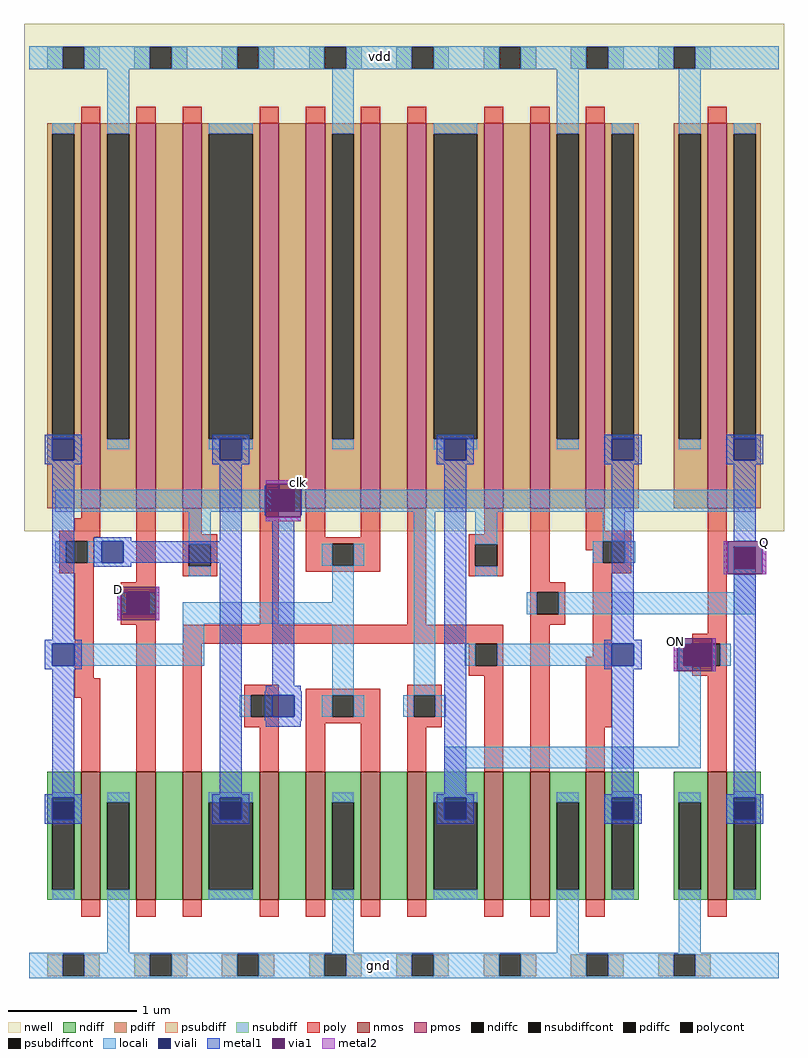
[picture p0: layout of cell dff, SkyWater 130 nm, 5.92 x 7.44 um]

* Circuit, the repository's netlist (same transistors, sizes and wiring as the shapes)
* SPICE3 file created from dff.ext - technology: EFS8A

.subckt dff D Q clk vdd gnd
M1000 a_511_725# a_n8_115# vdd vdd pshort W=3 L=0.15
M1001 a_353_115# clk a_11_624# gnd nshort W=1 L=0.15
M1002 a_353_725# a_203_89# a_11_624# vdd pshort W=3 L=0.15
M1003 a_11_624# a_203_89# a_161_115# gnd nshort W=1 L=0.15
M1004 a_11_624# clk a_161_725# vdd pshort W=3 L=0.15
M1005 gnd Q a_703_115# gnd nshort W=1 L=0.15
M1006 vdd Q a_703_725# vdd pshort W=3 L=0.15
M1007 a_203_89# clk gnd gnd nshort W=1 L=0.15
M1008 a_203_89# clk vdd vdd pshort W=3 L=0.15
M1009 a_161_115# D gnd gnd nshort W=1 L=0.15
M1010 a_161_725# D vdd vdd pshort W=3 L=0.15
M1011 gnd a_11_624# a_n8_115# gnd nshort W=1 L=0.15
M1012 a_703_115# a_203_89# ON gnd nshort W=1 L=0.15
M1013 vdd a_11_624# a_n8_115# vdd pshort W=3 L=0.15
M1014 a_703_725# clk ON vdd pshort W=3 L=0.15
M1015 Q ON vdd vdd pshort W=3 L=0.15
M1016 Q ON gnd gnd nshort W=1 L=0.15
M1017 ON a_203_89# a_511_725# vdd pshort W=3 L=0.15
M1018 ON clk a_511_115# gnd nshort W=1 L=0.15
M1019 gnd a_n8_115# a_353_115# gnd nshort W=1 L=0.15
M1020 vdd a_n8_115# a_353_725# vdd pshort W=3 L=0.15
M1021 a_511_115# a_n8_115# gnd gnd nshort W=1 L=0.15
.ends

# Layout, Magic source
magic
tech sky130A
magscale 1 2
<< nwell >>
rect -8 676 1176 1467
<< nmos >>
rect 81 102 111 302
rect 167 102 197 302
rect 239 102 269 302
rect 359 102 389 302
rect 431 102 461 302
rect 517 102 547 302
rect 589 102 619 302
rect 709 102 739 302
rect 781 102 811 302
rect 867 102 897 302
rect 1057 102 1087 302
<< pmos >>
rect 81 712 111 1312
rect 167 712 197 1312
rect 239 712 269 1312
rect 359 712 389 1312
rect 431 712 461 1312
rect 517 712 547 1312
rect 589 712 619 1312
rect 709 712 739 1312
rect 781 712 811 1312
rect 867 712 897 1312
rect 1057 712 1087 1312
<< ndiff >>
rect 28 254 81 302
rect 28 118 36 254
rect 70 118 81 254
rect 28 102 81 118
rect 111 254 167 302
rect 111 118 122 254
rect 156 118 167 254
rect 111 102 167 118
rect 197 102 239 302
rect 269 254 359 302
rect 269 118 280 254
rect 348 118 359 254
rect 269 102 359 118
rect 389 102 431 302
rect 461 254 517 302
rect 461 118 472 254
rect 506 118 517 254
rect 461 102 517 118
rect 547 102 589 302
rect 619 254 709 302
rect 619 118 630 254
rect 698 118 709 254
rect 619 102 709 118
rect 739 102 781 302
rect 811 254 867 302
rect 811 118 822 254
rect 856 118 867 254
rect 811 102 867 118
rect 897 254 950 302
rect 897 118 908 254
rect 942 118 950 254
rect 897 102 950 118
rect 1004 254 1057 302
rect 1004 118 1012 254
rect 1046 118 1057 254
rect 1004 102 1057 118
rect 1087 254 1140 302
rect 1087 118 1098 254
rect 1132 118 1140 254
rect 1087 102 1140 118
<< pdiff >>
rect 28 1296 81 1312
rect 28 820 36 1296
rect 70 820 81 1296
rect 28 712 81 820
rect 111 1296 167 1312
rect 111 820 122 1296
rect 156 820 167 1296
rect 111 712 167 820
rect 197 712 239 1312
rect 269 1296 359 1312
rect 269 820 280 1296
rect 348 820 359 1296
rect 269 712 359 820
rect 389 712 431 1312
rect 461 1296 517 1312
rect 461 820 472 1296
rect 506 820 517 1296
rect 461 712 517 820
rect 547 712 589 1312
rect 619 1296 709 1312
rect 619 820 630 1296
rect 698 820 709 1296
rect 619 712 709 820
rect 739 712 781 1312
rect 811 1296 867 1312
rect 811 820 822 1296
rect 856 820 867 1296
rect 811 712 867 820
rect 897 1296 950 1312
rect 897 820 908 1296
rect 942 820 950 1296
rect 897 712 950 820
rect 1004 1296 1057 1312
rect 1004 820 1012 1296
rect 1046 820 1057 1296
rect 1004 712 1057 820
rect 1087 1296 1140 1312
rect 1087 820 1098 1296
rect 1132 820 1140 1296
rect 1087 712 1140 820
<< ndiffc >>
rect 36 118 70 254
rect 122 118 156 254
rect 280 118 348 254
rect 472 118 506 254
rect 630 118 698 254
rect 822 118 856 254
rect 908 118 942 254
rect 1012 118 1046 254
rect 1098 118 1132 254
<< pdiffc >>
rect 36 820 70 1296
rect 122 820 156 1296
rect 280 820 348 1296
rect 472 820 506 1296
rect 630 820 698 1296
rect 822 820 856 1296
rect 908 820 942 1296
rect 1012 820 1046 1296
rect 1098 820 1132 1296
<< psubdiff >>
rect 28 -17 52 17
rect 86 -17 110 17
rect 164 -17 188 17
rect 222 -17 246 17
rect 300 -17 324 17
rect 358 -17 382 17
rect 436 -17 460 17
rect 494 -17 518 17
rect 572 -17 596 17
rect 630 -17 654 17
rect 708 -17 732 17
rect 766 -17 790 17
rect 844 -17 868 17
rect 902 -17 926 17
rect 980 -17 1004 17
rect 1038 -17 1062 17
<< nsubdiff >>
rect 28 1397 52 1431
rect 86 1397 110 1431
rect 164 1397 188 1431
rect 222 1397 246 1431
rect 300 1397 324 1431
rect 358 1397 382 1431
rect 436 1397 460 1431
rect 494 1397 518 1431
rect 572 1397 596 1431
rect 630 1397 654 1431
rect 708 1397 732 1431
rect 766 1397 790 1431
rect 844 1397 868 1431
rect 902 1397 926 1431
rect 980 1397 1004 1431
rect 1038 1397 1062 1431
<< psubdiffcont >>
rect 52 -17 86 17
rect 188 -17 222 17
rect 324 -17 358 17
rect 460 -17 494 17
rect 596 -17 630 17
rect 732 -17 766 17
rect 868 -17 902 17
rect 1004 -17 1038 17
<< nsubdiffcont >>
rect 52 1397 86 1431
rect 188 1397 222 1431
rect 324 1397 358 1431
rect 460 1397 494 1431
rect 596 1397 630 1431
rect 732 1397 766 1431
rect 868 1397 902 1431
rect 1004 1397 1038 1431
<< poly >>
rect 81 1312 111 1338
rect 167 1312 197 1338
rect 239 1312 269 1338
rect 359 1312 389 1338
rect 431 1312 461 1338
rect 517 1312 547 1338
rect 589 1312 619 1338
rect 709 1312 739 1338
rect 781 1312 811 1338
rect 867 1312 897 1338
rect 1057 1312 1087 1338
rect 81 697 111 712
rect 70 677 111 697
rect 47 667 111 677
rect 47 661 101 667
rect 47 627 57 661
rect 91 627 101 661
rect 47 611 101 627
rect 71 447 101 611
rect 167 597 197 712
rect 239 672 269 712
rect 239 656 293 672
rect 239 622 249 656
rect 283 622 293 656
rect 239 606 293 622
rect 143 581 197 597
rect 143 547 153 581
rect 187 547 197 581
rect 143 531 197 547
rect 359 531 389 712
rect 431 667 461 712
rect 517 667 547 712
rect 431 657 547 667
rect 431 623 472 657
rect 506 623 547 657
rect 431 613 547 623
rect 589 531 619 712
rect 709 672 739 712
rect 685 656 739 672
rect 685 622 695 656
rect 729 622 739 656
rect 685 606 739 622
rect 781 597 811 712
rect 867 677 897 712
rect 867 661 938 677
rect 867 647 894 661
rect 878 627 894 647
rect 928 627 938 661
rect 878 611 938 627
rect 781 581 835 597
rect 781 547 791 581
rect 825 547 835 581
rect 781 531 835 547
rect 71 417 111 447
rect 81 302 111 417
rect 167 302 197 531
rect 239 501 739 531
rect 239 302 269 501
rect 685 467 695 501
rect 729 467 739 501
rect 685 451 739 467
rect 335 421 389 437
rect 335 387 345 421
rect 379 387 389 421
rect 335 371 389 387
rect 359 302 389 371
rect 431 421 547 431
rect 431 387 472 421
rect 506 387 547 421
rect 431 377 547 387
rect 431 302 461 377
rect 517 302 547 377
rect 589 421 643 437
rect 589 387 599 421
rect 633 387 643 421
rect 589 371 643 387
rect 589 302 619 371
rect 709 302 739 451
rect 781 302 811 531
rect 878 481 908 611
rect 1057 517 1087 712
rect 867 371 908 481
rect 1033 501 1087 517
rect 1033 467 1043 501
rect 1077 467 1087 501
rect 1033 451 1087 467
rect 867 302 897 371
rect 1057 302 1087 451
rect 81 76 111 102
rect 167 76 197 102
rect 239 76 269 102
rect 359 76 389 102
rect 431 76 461 102
rect 517 76 547 102
rect 589 76 619 102
rect 709 76 739 102
rect 781 76 811 102
rect 867 76 897 102
rect 1057 76 1087 102
<< polycont >>
rect 57 627 91 661
rect 249 622 283 656
rect 153 547 187 581
rect 472 623 506 657
rect 695 622 729 656
rect 894 627 928 661
rect 791 547 825 581
rect 695 467 729 501
rect 345 387 379 421
rect 472 387 506 421
rect 599 387 633 421
rect 1043 467 1077 501
<< locali >>
rect 0 1431 1168 1432
rect 0 1397 52 1431
rect 86 1397 188 1431
rect 222 1397 324 1431
rect 358 1397 460 1431
rect 494 1397 596 1431
rect 630 1397 732 1431
rect 766 1397 868 1431
rect 902 1397 1004 1431
rect 1038 1397 1168 1431
rect 0 1396 1168 1397
rect 36 1296 70 1312
rect 122 1296 156 1396
rect 122 804 156 820
rect 280 1296 348 1312
rect 280 804 297 820
rect 331 804 348 820
rect 472 1296 506 1396
rect 472 804 506 820
rect 630 1296 698 1312
rect 630 804 647 820
rect 681 804 698 820
rect 822 1296 856 1396
rect 822 804 856 820
rect 908 1296 942 1312
rect 1012 1296 1046 1396
rect 1012 804 1046 820
rect 1098 1296 1132 1312
rect 41 707 379 741
rect 413 707 1132 741
rect 41 627 57 661
rect 91 627 113 661
rect 249 656 283 707
rect 456 623 472 657
rect 506 623 522 657
rect 249 606 283 622
rect 137 547 153 581
rect 187 547 203 581
rect 472 566 506 623
rect 239 532 506 566
rect 239 501 273 532
rect 70 467 273 501
rect 472 421 506 532
rect 599 421 633 707
rect 695 656 729 707
rect 894 661 928 707
rect 878 627 894 661
rect 928 627 944 661
rect 695 606 729 622
rect 1098 581 1132 618
rect 775 547 791 581
rect 825 547 1132 581
rect 679 467 695 501
rect 729 467 908 501
rect 1012 467 1020 501
rect 1077 467 1093 501
rect 328 387 345 421
rect 456 387 472 421
rect 506 387 522 421
rect 583 387 599 421
rect 633 387 649 421
rect 1012 341 1046 467
rect 647 307 1046 341
rect 647 270 681 307
rect 36 261 70 270
rect 36 102 70 118
rect 122 254 156 270
rect 122 20 156 118
rect 280 261 348 270
rect 280 254 297 261
rect 331 254 348 261
rect 280 102 348 118
rect 472 254 506 270
rect 472 20 506 118
rect 630 261 698 270
rect 630 254 647 261
rect 681 254 698 261
rect 630 102 698 118
rect 822 254 856 270
rect 822 20 856 118
rect 908 261 942 271
rect 908 102 942 118
rect 1012 254 1046 270
rect 1012 20 1046 118
rect 1098 261 1132 271
rect 1098 102 1132 118
rect 0 17 1168 20
rect 0 -17 52 17
rect 86 -17 188 17
rect 222 -17 324 17
rect 358 -17 460 17
rect 494 -17 596 17
rect 630 -17 732 17
rect 766 -17 868 17
rect 902 -17 1004 17
rect 1038 -17 1168 17
rect 0 -20 1168 -17
<< viali >>
rect 36 820 70 821
rect 36 787 70 820
rect 297 820 331 821
rect 297 787 331 820
rect 647 820 681 821
rect 647 787 681 820
rect 908 820 942 821
rect 908 787 942 820
rect 1098 820 1132 821
rect 1098 787 1132 820
rect 379 707 413 741
rect 113 627 147 661
rect 153 547 187 581
rect 36 467 70 501
rect 1098 618 1132 652
rect 908 467 942 501
rect 1020 467 1043 501
rect 1043 467 1054 501
rect 379 387 413 421
rect 36 254 70 261
rect 36 227 70 254
rect 297 254 331 261
rect 297 227 331 254
rect 647 254 681 261
rect 647 227 681 254
rect 908 254 942 261
rect 908 227 942 254
rect 1098 254 1132 261
rect 1098 227 1132 254
<< metal1 >>
rect 24 821 82 827
rect 24 787 36 821
rect 70 787 82 821
rect 24 781 82 787
rect 285 821 343 827
rect 285 787 297 821
rect 331 787 343 821
rect 285 781 343 787
rect 635 821 693 827
rect 635 787 647 821
rect 681 787 693 821
rect 635 781 693 787
rect 896 821 954 827
rect 896 787 908 821
rect 942 787 954 821
rect 896 781 954 787
rect 1086 821 1144 827
rect 1086 787 1098 821
rect 1132 787 1144 821
rect 1086 781 1144 787
rect 36 507 70 781
rect 101 661 159 667
rect 297 661 331 781
rect 369 750 423 756
rect 367 701 369 747
rect 423 701 425 747
rect 369 692 423 698
rect 101 627 113 661
rect 147 627 331 661
rect 101 621 159 627
rect 137 538 143 590
rect 197 538 203 590
rect 24 501 82 507
rect 24 467 36 501
rect 70 467 82 501
rect 24 461 82 467
rect 36 267 70 461
rect 297 267 331 627
rect 379 436 413 692
rect 369 427 423 436
rect 367 421 425 427
rect 367 387 379 421
rect 413 387 425 421
rect 367 381 425 387
rect 369 372 423 381
rect 647 267 681 781
rect 908 507 942 781
rect 1098 661 1132 781
rect 1082 609 1088 661
rect 1142 609 1148 661
rect 896 501 954 507
rect 896 467 908 501
rect 942 467 954 501
rect 896 461 954 467
rect 908 267 942 461
rect 1004 458 1010 510
rect 1064 458 1070 510
rect 1098 267 1132 609
rect 24 261 82 267
rect 24 227 36 261
rect 70 227 82 261
rect 24 221 82 227
rect 285 261 343 267
rect 285 227 297 261
rect 331 227 343 261
rect 285 221 343 227
rect 635 261 693 267
rect 635 227 647 261
rect 681 227 693 261
rect 635 221 693 227
rect 896 261 954 267
rect 896 227 908 261
rect 942 227 954 261
rect 896 221 954 227
rect 1086 261 1144 267
rect 1086 227 1098 261
rect 1132 227 1144 261
rect 1086 221 1144 227
<< via1 >>
rect 369 741 423 750
rect 369 707 379 741
rect 379 707 413 741
rect 413 707 423 741
rect 369 698 423 707
rect 143 581 197 590
rect 143 547 153 581
rect 153 547 187 581
rect 187 547 197 581
rect 143 538 197 547
rect 1088 652 1142 661
rect 1088 618 1098 652
rect 1098 618 1132 652
rect 1132 618 1142 652
rect 1088 609 1142 618
rect 1010 501 1064 510
rect 1010 467 1020 501
rect 1020 467 1054 501
rect 1054 467 1064 501
rect 1010 458 1064 467
<< metal2 >>
rect 369 750 423 756
rect 369 692 423 698
rect 1082 609 1088 661
rect 1142 609 1148 661
rect 137 538 143 590
rect 197 538 203 590
rect 1004 458 1010 510
rect 1064 458 1070 510
<< labels >>
rlabel metal2 1146 659 1146 659 1 Q
rlabel metal2 419 753 419 753 1 clk
rlabel metal2 1007 504 1007 504 1 ON
rlabel metal2 139 586 139 586 1 D
rlabel locali 544 0 544 0 1 gnd
rlabel locali 548 1416 548 1416 1 vdd
<< properties >>
string FIXED_BBOX 0 0 1168 1414
string BBOX_FIXED 0 0 1168 1414
<< end >>
